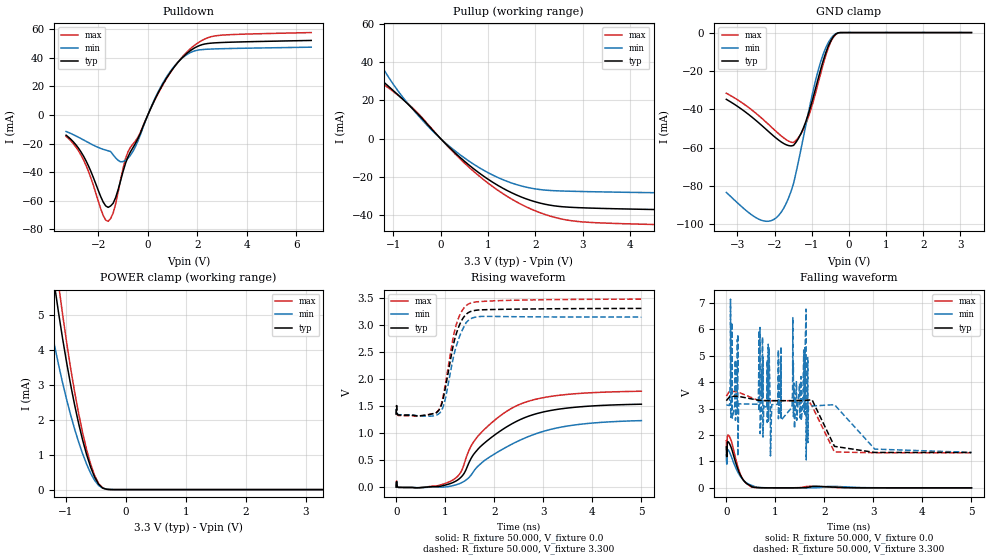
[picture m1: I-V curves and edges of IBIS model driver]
| IBIS file created by Layout Workbench Version 24.1.0.10141.541387   000
| Cadence Design Systems, Inc. 2011
| Simulator:  ****** PrimeSim HSPICE -- T-2022.06 win64 (May 20 2022 7637141)
[IBIS ver] 7.1
[File name]  io_buf_t2b_7_1.ibs
[File Rev]  0
[Date]   December 6, 2025
[Source] Generated for SPICE to IBIS conversion
[Notes] Cadence T2B configuration for SPICE to IBIS conversion
[Disclaimer] This file is for demonstration purposes only
[Copyright] Copyright 2025 Your Company
|   Component CMOS_Buffer
[Component] CMOS_Buffer
[Manufacturer] Your Company
[Package]
| variable   typ   min   max
R_pkg   2.000m   1.000m   4.000m
L_pkg   0.200nH   0.100nH   0.400nH
C_pkg   2.000pF   1.000pF   4.000pF
[Pin]  signal_name   model_name   R_pin   L_pin   C_pin
out   out   driver
|in   in   dummy
vdd   vdd   POWER
vss   vss   GND
| Models and submodels in the file (1): driver (I/O)
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|   Model driver
[Model] driver
Model_type I/O
Polarity   Non-Inverting
Enable   Active-High
C_comp   0.267pF   0.248pF   0.329pF
C_comp_pullup   0.165pF   0.164pF   0.168pF
C_comp_pulldown   90.337fF   72.146fF   0.148pF
[Temperature Range]   27.000   100.000   0.0
[Voltage Range]   3.300V   3.000V   3.600V
[C Comp Corner]
C_comp_pullup   0.165pF   0.168pF   0.164pF
C_comp_pulldown   90.337fF   0.148pF   72.146fF
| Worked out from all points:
|   slope of the pulldown table from 0 to 0.495 V, typ, clamps not added: 27.4 ohm
|   slope of the pullup table from 0 to 0.495 V, typ, clamps not added: 42.7 ohm
|   GND clamp passes 1 mA (typ) near -0.36 V on its own axis
|   POWER clamp passes 1 mA (typ) near -0.65 V on its own axis
|   rising waveform, R_fixture 50.000, V_fixture 0.0: 20-80 % time 1.06ns typ, 1.29ns min, 924ps max; typ from 0 V to 1.53 V
|   rising waveform, R_fixture 50.000, V_fixture 3.300: 20-80 % time 273ps typ, 273ps min, 266ps max; typ from 1.34 V to 3.3 V
|   falling waveform, R_fixture 50.000, V_fixture 0.0: 20-80 % time 195ps typ, 231ps min, 178ps max; typ from 1.54 V to 0 V
|   falling waveform, R_fixture 50.000, V_fixture 3.300: 20-80 % time 305ps typ, 468fs min, 338ps max; typ from 3.3 V to 1.34 V
[Pulldown]
|Voltage   I(typ)   I(min)   I(max)
-3.3V     -14.11mA   -11.48mA   -14.91mA
-2.6V     -28.62mA   -17.38mA   -31.25mA
-1.8V     -60.94mA   -23.99mA   -70.39mA
-1.6V     -64.63mA   -25.02mA   -74.39mA
-1.3V     -57.85mA   -29.97mA   -62.26mA
-1V       -39.63mA   -32.58mA   -37.38mA
-800mV    -29.26mA   -30.26mA   -25.73mA
-400mV    -16.61mA   -18.24mA   -15.56mA
600mV     21.34mA    22.16mA    20.91mA
1.7V      44.86mA    43.6mA     46.12mA
2.8V      50.65mA    46.37mA    55.62mA
6.6V      52.25mA    47.53mA    57.76mA
[Pullup]
|Voltage   I(typ)   I(min)   I(max)
-3.3V     52.88mA    288mA      32.06mA
-2.9V     57.26mA    200.3mA    40.86mA
-2.5V     55.97mA    137.1mA    43.92mA
-2.2V     50.87mA    101.5mA    42.91mA
-1.7V     40.2mA     61.42mA    36.21mA
-1V       25.06mA    28.32mA    24.59mA
-200mV    5.278mA    4.74mA     5.561mA
600mV     -13.78mA   -11.72mA   -14.92mA
1.5V      -28.2mA    -23.1mA    -31.5mA
2.2V      -34.15mA   -26.79mA   -39.49mA
2.9V      -35.95mA   -27.49mA   -43.18mA
6.6V      -37.71mA   -28.76mA   -45.68mA
[GND_clamp]
|Voltage   I(typ)   I(min)   I(max)
-3.3V     -34.82mA   -83.32mA   -31.62mA
-2.362V   -48.16mA   -97.8mA    -44.4mA
-2.094V   -52.79mA   -98.07mA   -49.13mA
-1.826V   -56.97mA   -93.74mA   -53.82mA
-1.625V   -58.91mA   -86.24mA   -56.59mA
-1.491V   -58.82mA   -78.71mA   -57.32mA
-1.29V    -52.63mA   -60.76mA   -52.76mA
-1.022V   -37.9mA    -35.44mA   -39.96mA
-754mV    -18.8mA    -14.83mA   -20.9mA
-553mV    -6.916mA   -5.136mA   -7.861mA
-352mV    -797.8uA   -568.4uA   -911.4uA
3.3V      0A         0A         0A
[POWER_clamp]
|Voltage   I(typ)   I(min)   I(max)
-3.266V   67.08mA    61.38mA    71.09mA
-1.39V    8.49mA     6.01mA     9.831mA
-1.323V   7.563mA    5.343mA    8.767mA
-1.189V   5.853mA    4.129mA    6.792mA
-1.122V   5.069mA    3.579mA    5.883mA
-1.055V   4.334mA    3.065mA    5.028mA
-921mV    3.013mA    2.144mA    3.487mA
-720mV    1.421mA    1.028mA    1.63mA
-586mV    644.1uA    470.4uA    731.1uA
-519mV    356.8uA    263.7uA    401.7uA
-385mV    45.67uA    40.82uA    47.31uA
3.3V      0A         0A         0A
[Ramp]
| variable   typ   min   max
dV/dt_r   0.918/1.068n   0.736/1.295n   1.062/0.936n
dV/dt_f   1.177/0.241n   1.092/0.315n   1.271/1.785n
R_load = 50.000
[Initial_Delay]  | This keyword provides information on removable delay(s)
|  time table   typ   min   max
   V-T   0.0   0.0   0.0
   I-T   0.0   0.0   0.0
[Rising Waveform]
R_fixture= 50.000
V_fixture= 0.0
|time   V(typ)   V(min)   V(max)
0s        7.302nV    59.67nV    2.904nV
9ps       103.2mV    93.6mV     112.3mV
40ps      -5.237mV   -4.419mV   -6.264mV
417ps     -13.32mV   -10.53mV   -14.44mV
1.169ns   88.5mV     29.2mV     138.1mV
1.367ns   229.8mV    97.01mV    374.5mV
1.68ns    713mV      395.8mV    954.2mV
2.568ns   1.262V     883.1mV    1.545V
3.47ns    1.457V     1.124V     1.709V
5ns       1.53V      1.227V     1.77V
[Rising Waveform]
R_fixture= 50.000
V_fixture= 3.300
|time   V(typ)   V(min)   V(max)
0s        1.338V     1.342V     1.329V
9ps       1.504V     1.505V     1.496V
21ps      1.36V      1.358V     1.353V
49ps      1.33V      1.335V     1.32V
867ps     1.416V     1.352V     1.427V
982ps     1.734V     1.557V     1.796V
1.212ns   2.79V      2.561V     2.958V
1.328ns   3.065V     2.861V     3.233V
1.474ns   3.223V     3.079V     3.38V
5ns       3.299V     3.139V     3.47V
[Falling Waveform]
R_fixture= 50.000
V_fixture= 0.0
|time   V(typ)   V(min)   V(max)
0s        1.545V     1.247V     1.783V
5ps       1.262V     982.5mV    1.483V
10ps      1.173V     895.7mV    1.397V
15ps      1.536V     1.243V     1.777V
24ps      1.717V     1.422V     1.966V
60ps      1.688V     1.37V      1.951V
304ps     419.3mV    388.9mV    443.1mV
390ps     204.2mV    219mV      199.6mV
530ps     36.93mV    84.44mV    26.71mV
5ns       157.1nV    969.3nV    92.48nV
[Falling Waveform]
R_fixture= 50.000
V_fixture= 3.300
|time   V(typ)   V(min)   V(max)
0s        3.3V       3.139V     3.472V
85ps      3.45V      7.146V     3.658V
90ps      3.462V     2.667V     3.654V
233ps     3.466V     5.812V     3.626V
235ps     3.467V     1.202V     3.626V
687ps     3.312V     6.072V     3.306V
1.527ns   3.305V     2.551V     3.312V
1.627ns   3.311V     6.769V     3.336V
1.629ns   3.311V     1.057V     3.336V
5ns       1.338V     1.342V     1.329V
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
